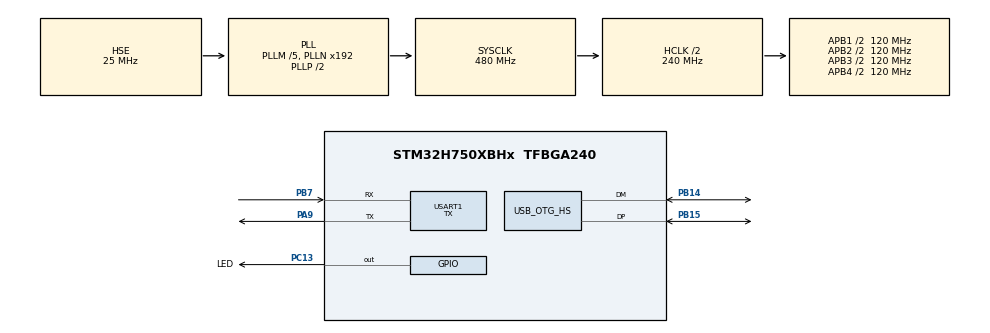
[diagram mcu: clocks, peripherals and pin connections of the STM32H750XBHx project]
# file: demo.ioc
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CORTEX_M7.default_mode_Activation=0
Mcu.Family=STM32H7
Mcu.Name=STM32H750XBHx
Mcu.Package=TFBGA240
NVIC.OTG_HS_IRQn=true\:0\:0\:false\:false\:true\:true\:true\:true
NVIC.PriorityGroup=NVIC_PRIORITYGROUP_4
PA13\ (JTMS/SWDIO).Mode=Serial_Wire
PA13\ (JTMS/SWDIO).Signal=DEBUG_JTMS-SWDIO
PA14\ (JTCK/SWCLK).Mode=Serial_Wire
PA14\ (JTCK/SWCLK).Signal=DEBUG_JTCK-SWCLK
PA9.Mode=Asynchronous
PA9.Signal=USART1_TX
PB14.GPIO_Speed=GPIO_SPEED_FREQ_VERY_HIGH
PB14.Mode=Host_FS
PB14.Signal=USB_OTG_HS_DM
PB15.GPIO_Speed=GPIO_SPEED_FREQ_VERY_HIGH
PB15.Mode=Host_FS
PB15.Signal=USB_OTG_HS_DP
PB7.Mode=Asynchronous
PB7.Signal=USART1_RX
PC13.GPIO_Label=LED
PC13.Signal=GPIO_Output
PH0-OSC_IN\ (PH0).Mode=HSE-External-Oscillator
PH0-OSC_IN\ (PH0).Signal=RCC_OSC_IN
PH1-OSC_OUT\ (PH1).Mode=HSE-External-Oscillator
PH1-OSC_OUT\ (PH1).Signal=RCC_OSC_OUT
ProjectManager.HeapSize=0x2000
ProjectManager.StackSize=0x4000
ProjectManager.TargetToolchain=MDK-ARM V5
RCC.ADCFreq_Value=50390625
RCC.APB1Freq_Value=120000000
RCC.APB2Freq_Value=120000000
RCC.APB3Freq_Value=120000000
RCC.APB4Freq_Value=120000000
RCC.CortexFreq_Value=480000000
RCC.D1PPRE=RCC_APB3_DIV2
RCC.D2PPRE1=RCC_APB1_DIV2
RCC.D2PPRE2=RCC_APB2_DIV2
RCC.D3PPRE=RCC_APB4_DIV2
RCC.DIVM1=5
RCC.DIVM3=2
RCC.DIVN1=192
RCC.DIVN3=12
RCC.DIVQ1=4
RCC.DIVQ3=3
RCC.HCLKFreq_Value=240000000
RCC.HPRE=RCC_HCLK_DIV2
RCC.PLL2FRACN=0
RCC.PLL3FRACN=0
RCC.PLLFRACN=0
RCC.PLLSourceVirtual=RCC_PLLSOURCE_HSE
RCC.SYSCLKFreq_VALUE=480000000
RCC.SYSCLKSource=RCC_SYSCLKSOURCE_PLLCLK
RCC.USBCLockSelection=RCC_USBCLKSOURCE_HSI48
RCC.USBFreq_Value=48000000
USART1.Mode=MODE_TX
USART1.VirtualMode-Asynchronous=VM_ASYNC
USB_OTG_HS.VirtualMode-Host_FS=Host_FS
board=custom

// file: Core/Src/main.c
/* USER CODE BEGIN Header */
/**
 ******************************************************************************
 * @file           : main.c
 * @brief          : Main program body
 ******************************************************************************
 * @attention
 *
 * Copyright (c) 2025 STMicroelectronics.
 * All rights reserved.
 *
 * This software is licensed under terms that can be found in the LICENSE file
 * in the root directory of this software component.
 * If no LICENSE file comes with this software, it is provided AS-IS.
 *
 ******************************************************************************
 */
/* USER CODE END Header */
#include "main.h"

/* USER CODE BEGIN Includes */
#include <stdio.h>
/* USER CODE END Includes */

UART_HandleTypeDef huart1;

HCD_HandleTypeDef hhcd_USB_OTG_HS;

void        SystemClock_Config(void);
static void MX_GPIO_Init(void);
static void MX_USART1_UART_Init(void);
static void MX_USB_OTG_HS_HCD_Init(void);
/* USER CODE BEGIN PFP */

void usb_hc_low_level_init(void)
{
     GPIO_InitTypeDef GPIO_InitStruct = {0};
  RCC_PeriphCLKInitTypeDef PeriphClkInitStruct = {0};

  /* USER CODE BEGIN USB_OTG_HS_MspInit 0 */

  /* USER CODE END USB_OTG_HS_MspInit 0 */
  /** Initializes the peripherals clock
  */
    PeriphClkInitStruct.PeriphClockSelection = RCC_PERIPHCLK_USB;
    PeriphClkInitStruct.PLL3.PLL3M = 25;
    PeriphClkInitStruct.PLL3.PLL3N = 240;
    PeriphClkInitStruct.PLL3.PLL3P = 2;
    PeriphClkInitStruct.PLL3.PLL3Q = 5;
    PeriphClkInitStruct.PLL3.PLL3R = 2;
    PeriphClkInitStruct.PLL3.PLL3RGE = RCC_PLL3VCIRANGE_0;
    PeriphClkInitStruct.PLL3.PLL3VCOSEL = RCC_PLL3VCOWIDE;
    PeriphClkInitStruct.PLL3.PLL3FRACN = 0;
    PeriphClkInitStruct.UsbClockSelection = RCC_USBCLKSOURCE_PLL3;
    if (HAL_RCCEx_PeriphCLKConfig(&PeriphClkInitStruct) != HAL_OK)
    {
      Error_Handler();
    }
  /** Enable USB Voltage detector
  */
    HAL_PWREx_EnableUSBVoltageDetector();

    __HAL_RCC_GPIOB_CLK_ENABLE();
    /**USB_OTG_HS GPIO Configuration
    PB15     ------> USB_OTG_HS_DP
    PB14     ------> USB_OTG_HS_DM
    */
    GPIO_InitStruct.Pin = GPIO_PIN_15|GPIO_PIN_14;
    GPIO_InitStruct.Mode = GPIO_MODE_AF_PP;
    GPIO_InitStruct.Pull = GPIO_NOPULL;
    GPIO_InitStruct.Speed = GPIO_SPEED_FREQ_VERY_HIGH;
    GPIO_InitStruct.Alternate = GPIO_AF12_OTG2_FS;
    HAL_GPIO_Init(GPIOB, &GPIO_InitStruct);

    /* Peripheral clock enable */
    __HAL_RCC_USB_OTG_HS_CLK_ENABLE();
    /* USB_OTG_HS interrupt Init */
    HAL_NVIC_SetPriority(OTG_HS_IRQn, 0, 0);
    HAL_NVIC_EnableIRQ(OTG_HS_IRQn);
  /* USER CODE BEGIN USB_OTG_HS_MspInit 1 */

  /* USER CODE END USB_OTG_HS_MspInit 1 */
}

void usb_hc_low_level_deinit(void)
{}

/* USER CODE END PFP */

int main(void)
{

    /* MCU Configuration--------------------------------------------------------*/

    /* Reset of all peripherals, Initializes the Flash interface and the Systick. */
    HAL_Init();

    /* Configure the system clock */
    SystemClock_Config();

    /* Initialize all configured peripherals */
    MX_GPIO_Init();
    MX_USART1_UART_Init();
    /* USER CODE BEGIN 2 */
    printf("Start usb host task...\r\n");
    usbh_initialize(0, USB_OTG_HS_PERIPH_BASE);
    vTaskStartScheduler();
    /* USER CODE END 2 */

    /* Infinite loop */
    while (1)
    {

    }
}

void SystemClock_Config(void)
{
    RCC_OscInitTypeDef RCC_OscInitStruct = {0};
    RCC_ClkInitTypeDef RCC_ClkInitStruct = {0};

    /** Supply configuration update enable
     */
    HAL_PWREx_ConfigSupply(PWR_LDO_SUPPLY);

    /** Configure the main internal regulator output voltage
     */
    __HAL_PWR_VOLTAGESCALING_CONFIG(PWR_REGULATOR_VOLTAGE_SCALE1);

    while (!__HAL_PWR_GET_FLAG(PWR_FLAG_VOSRDY)) {}

    __HAL_RCC_SYSCFG_CLK_ENABLE();
    __HAL_PWR_VOLTAGESCALING_CONFIG(PWR_REGULATOR_VOLTAGE_SCALE0);

    while (!__HAL_PWR_GET_FLAG(PWR_FLAG_VOSRDY)) {}

    /** Initializes the RCC Oscillators according to the specified parameters
     * in the RCC_OscInitTypeDef structure.
     */
    RCC_OscInitStruct.OscillatorType = RCC_OSCILLATORTYPE_HSI48 | RCC_OSCILLATORTYPE_HSE;
    RCC_OscInitStruct.HSEState       = RCC_HSE_ON;
    RCC_OscInitStruct.HSI48State     = RCC_HSI48_ON;
    RCC_OscInitStruct.PLL.PLLState   = RCC_PLL_ON;
    RCC_OscInitStruct.PLL.PLLSource  = RCC_PLLSOURCE_HSE;
    RCC_OscInitStruct.PLL.PLLM       = 5;
    RCC_OscInitStruct.PLL.PLLN       = 192;
    RCC_OscInitStruct.PLL.PLLP       = 2;
    RCC_OscInitStruct.PLL.PLLQ       = 4;
    RCC_OscInitStruct.PLL.PLLR       = 2;
    RCC_OscInitStruct.PLL.PLLRGE     = RCC_PLL1VCIRANGE_2;
    RCC_OscInitStruct.PLL.PLLVCOSEL  = RCC_PLL1VCOWIDE;
    RCC_OscInitStruct.PLL.PLLFRACN   = 0;
    if (HAL_RCC_OscConfig(&RCC_OscInitStruct) != HAL_OK)
    {
        Error_Handler();
    }

    /** Initializes the CPU, AHB and APB buses clocks
     */
    RCC_ClkInitStruct.ClockType      = RCC_CLOCKTYPE_HCLK | RCC_CLOCKTYPE_SYSCLK | RCC_CLOCKTYPE_PCLK1 | RCC_CLOCKTYPE_PCLK2 | RCC_CLOCKTYPE_D3PCLK1 | RCC_CLOCKTYPE_D1PCLK1;
    RCC_ClkInitStruct.SYSCLKSource   = RCC_SYSCLKSOURCE_PLLCLK;
    RCC_ClkInitStruct.SYSCLKDivider  = RCC_SYSCLK_DIV1;
    RCC_ClkInitStruct.AHBCLKDivider  = RCC_HCLK_DIV2;
    RCC_ClkInitStruct.APB3CLKDivider = RCC_APB3_DIV2;
    RCC_ClkInitStruct.APB1CLKDivider = RCC_APB1_DIV2;
    RCC_ClkInitStruct.APB2CLKDivider = RCC_APB2_DIV2;
    RCC_ClkInitStruct.APB4CLKDivider = RCC_APB4_DIV2;

    if (HAL_RCC_ClockConfig(&RCC_ClkInitStruct, FLASH_LATENCY_4) != HAL_OK)
    {
        Error_Handler();
    }
}

static void MX_USART1_UART_Init(void)
{

    huart1.Instance                    = USART1;
    huart1.Init.BaudRate               = 115200;
    huart1.Init.WordLength             = UART_WORDLENGTH_8B;
    huart1.Init.StopBits               = UART_STOPBITS_1;
    huart1.Init.Parity                 = UART_PARITY_NONE;
    huart1.Init.Mode                   = UART_MODE_TX;
    huart1.Init.HwFlowCtl              = UART_HWCONTROL_NONE;
    huart1.Init.OverSampling           = UART_OVERSAMPLING_16;
    huart1.Init.OneBitSampling         = UART_ONE_BIT_SAMPLE_DISABLE;
    huart1.Init.ClockPrescaler         = UART_PRESCALER_DIV1;
    huart1.AdvancedInit.AdvFeatureInit = UART_ADVFEATURE_NO_INIT;
    if (HAL_UART_Init(&huart1) != HAL_OK)
    {
        Error_Handler();
    }
    if (HAL_UARTEx_SetTxFifoThreshold(&huart1, UART_TXFIFO_THRESHOLD_1_8) != HAL_OK)
    {
        Error_Handler();
    }
    if (HAL_UARTEx_SetRxFifoThreshold(&huart1, UART_RXFIFO_THRESHOLD_1_8) != HAL_OK)
    {
        Error_Handler();
    }
    if (HAL_UARTEx_DisableFifoMode(&huart1) != HAL_OK)
    {
        Error_Handler();
    }
}

static void MX_USB_OTG_HS_HCD_Init(void)
{

    hhcd_USB_OTG_HS.Instance               = USB_OTG_HS;
    hhcd_USB_OTG_HS.Init.Host_channels     = 16;
    hhcd_USB_OTG_HS.Init.speed             = HCD_SPEED_FULL;
    hhcd_USB_OTG_HS.Init.dma_enable        = DISABLE;
    hhcd_USB_OTG_HS.Init.phy_itface        = USB_OTG_EMBEDDED_PHY;
    hhcd_USB_OTG_HS.Init.Sof_enable        = DISABLE;
    hhcd_USB_OTG_HS.Init.low_power_enable  = DISABLE;
    hhcd_USB_OTG_HS.Init.use_external_vbus = DISABLE;
    if (HAL_HCD_Init(&hhcd_USB_OTG_HS) != HAL_OK)
    {
        Error_Handler();
    }
}

static void MX_GPIO_Init(void)
{
    GPIO_InitTypeDef GPIO_InitStruct = {0};

    /* GPIO Ports Clock Enable */
    __HAL_RCC_GPIOA_CLK_ENABLE();
    __HAL_RCC_GPIOB_CLK_ENABLE();
    __HAL_RCC_GPIOC_CLK_ENABLE();
    __HAL_RCC_GPIOH_CLK_ENABLE();

    /*Configure GPIO pin Output Level */
    HAL_GPIO_WritePin(LED_GPIO_Port, LED_Pin, GPIO_PIN_RESET);

    /*Configure GPIO pin : LED_Pin */
    GPIO_InitStruct.Pin   = LED_Pin;
    GPIO_InitStruct.Mode  = GPIO_MODE_OUTPUT_PP;
    GPIO_InitStruct.Pull  = GPIO_NOPULL;
    GPIO_InitStruct.Speed = GPIO_SPEED_FREQ_LOW;
    HAL_GPIO_Init(LED_GPIO_Port, &GPIO_InitStruct);

}

/* USER CODE BEGIN 4 */
int fputc(int ch, FILE* f)
{
    HAL_UART_Transmit(&huart1, (uint8_t*)&ch, 1, 0xFF);
    return ch;
}
/* USER CODE END 4 */

void Error_Handler(void)
{
    __disable_irq();
    while (1)
    {
    }
}
